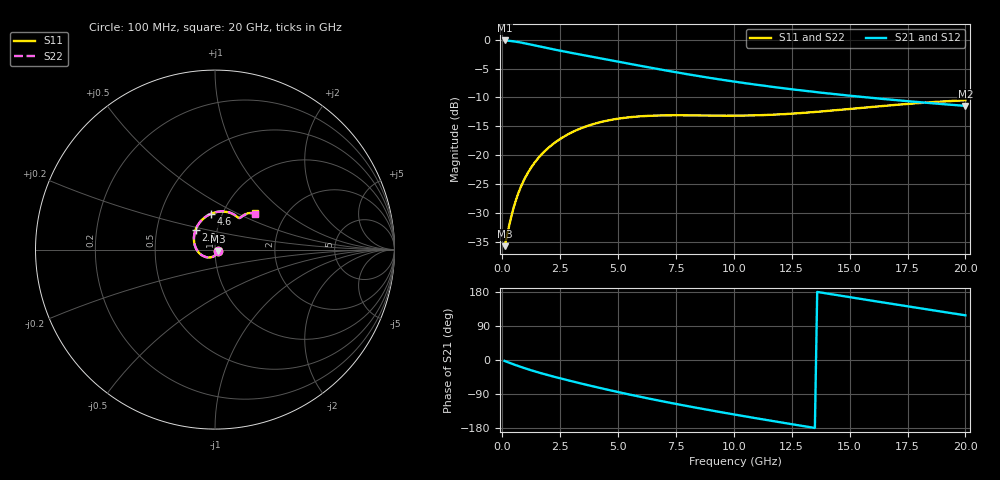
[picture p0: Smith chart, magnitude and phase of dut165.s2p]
! Touchstone file exported from HFSS 2023.1.0
!  File:  D:/Users/fzz/RDL_TSV/temp_RDL_TSV_165_1778753946.aedt
!  Generated:  6:27:05 %x4E0B%x5348  5%x6708 14, 2026
!  Design:  RDL_TSV
!  Project:  temp_RDL_TSV_165_1778753946
!  Setup:  Setup1
!  Solution:  Sweep
! Variables:
!  dtsv = 18.45um
!  hbump = 3um
!  htsv = 82.77um
!  ldown = 559.64um
!  lrdl = 379.92um
!  p = 40
!  p1 = 53.5um
!  rhole = 10um
!  subl = 3198.6um
!  t = 450um
!  tdown = 2.37um
!  trdl = 4.94um
!  viad = 10um
!  wdown = 24.98um
!  wrdl = 22.67um
!  xbump = 18um
# GHz S MA R 50.000000
! Terminal data exported
! Port[1] = TM1_1_T1
! Port[2] = TM1_4_T1
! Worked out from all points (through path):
!   200 points, 100 MHz to 20 GHz, reference 50 ohm
!   highest |S21| = -0.14 dB at 100 MHz (marker M1); lowest = -11.5 dB at 20 GHz (marker M2)
!   group delay of S21, straight-line fit = 31.6 ps
!   lowest |S11| = -35.7 dB at 100 MHz (marker M3), VSWR 1.03, Z = 51.5 - j0.781 ohm
!   |S11| at or under -10 dB: start of sweep to end of sweep
!   |S22| runs from -35.7 to -10.5 dB; largest |S21 - S12| = 8.4e-14
!   S11 on the Smith chart (normalised r, x): 100 MHz: 1.03, -0.02; 2.9 GHz: 0.79, +0.18; 4.6 GHz: 0.88, +0.37; 20 GHz: 1.40, +0.62
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0.1  0.01634 -27.7  0.9839 -2.4  0.9839 -2.4  0.01634 -27.7
! Gamma 0 0 0 0
! Port Impedance 50 0 50 0
0.4  0.03013 -84.7  0.972 -9.5  0.972 -9.5  0.03012 -84.7
0.6  0.04152 -106.9  0.9593 -14.0  0.9593 -14.0  0.04151 -107.0
0.8  0.05312 -124.5  0.9441 -18.2  0.9441 -18.2  0.05312 -124.5
1.1  0.07019 -146.1  0.9184 -24.3  0.9184 -24.3  0.0702 -146.2
1.5  0.09172 -169.7  0.8828 -31.8  0.8828 -31.8  0.09178 -169.8
1.9  0.1116 171.0  0.8487 -38.7  0.8487 -38.7  0.1118 170.9
2.4  0.1342 151.1  0.8096 -46.8  0.8096 -46.8  0.1344 151.0
2.9  0.154 134.8  0.774 -54.5  0.774 -54.5  0.1543 134.7
3.5  0.1741 118.8  0.7345 -63.5  0.7345 -63.5  0.1745 118.7
4.6  0.2006 96.5  0.6678 -79.1  0.6678 -79.1  0.2013 96.4
5.7  0.2151 80.5  0.6072 -93.8  0.6072 -93.8  0.216 80.4
6.8  0.2208 69.2  0.5531 -107.6  0.5531 -107.6  0.2218 69.1
7.6  0.2216 63.3  0.5182 -117.1  0.5182 -117.1  0.2226 63.1
8.4  0.221 58.9  0.4868 -126.2  0.4868 -126.2  0.222 58.8
10.1  0.2201 53.8  0.4311 -144.7  0.4311 -144.7  0.221 53.5
11.7  0.2243 52.1  0.3897 -161.3  0.3897 -161.3  0.225 51.7
13.4  0.2358 51.3  0.3545 -178.4  0.3545 -178.4  0.2362 50.9
15.1  0.2524 50.1  0.3259 164.9  0.3259 164.9  0.2525 49.7
16.7  0.2697 48.2  0.3035 149.4  0.3035 149.4  0.2694 47.8
18.3  0.2856 45.6  0.2845 134.0  0.2845 134.0  0.285 45.3
20  0.299 42.5  0.2673 117.9  0.2673 117.9  0.2982 42.2
